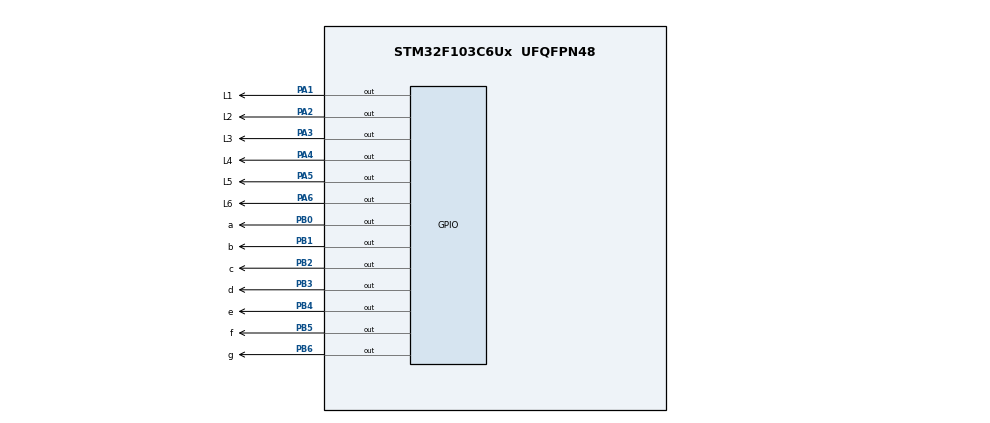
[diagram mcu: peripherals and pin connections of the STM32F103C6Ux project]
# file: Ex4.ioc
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Mcu.Family=STM32F1
Mcu.Name=STM32F103C6Ux
Mcu.Package=UFQFPN48
NVIC.PriorityGroup=NVIC_PRIORITYGROUP_4
PA1.GPIO_Label=L1
PA1.Signal=GPIO_Output
PA2.GPIO_Label=L2
PA2.Signal=GPIO_Output
PA3.GPIO_Label=L3
PA3.Signal=GPIO_Output
PA4.GPIO_Label=L4
PA4.Signal=GPIO_Output
PA5.GPIO_Label=L5
PA5.Signal=GPIO_Output
PA6.GPIO_Label=L6
PA6.Signal=GPIO_Output
PB0.GPIO_Label=a
PB0.Signal=GPIO_Output
PB1.GPIO_Label=b
PB1.Signal=GPIO_Output
PB2.GPIO_Label=c
PB2.Signal=GPIO_Output
PB3.GPIO_Label=d
PB3.Signal=GPIO_Output
PB4.GPIO_Label=e
PB4.Signal=GPIO_Output
PB5.GPIO_Label=f
PB5.Signal=GPIO_Output
PB6.GPIO_Label=g
PB6.Signal=GPIO_Output
ProjectManager.HeapSize=0x200
ProjectManager.StackSize=0x400
ProjectManager.TargetToolchain=STM32CubeIDE
RCC.APB1Freq_Value=8000000
RCC.APB2Freq_Value=8000000
VP_SYS_VS_ND.Mode=No_Debug
board=custom

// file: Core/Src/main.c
/* USER CODE BEGIN Header */
/**
  ******************************************************************************
  * @file           : main.c
  * @brief          : Main program body
  ******************************************************************************
  * @attention
  *
  * <h2><center>&copy; Copyright (c) 2025 STMicroelectronics.
  * All rights reserved.</center></h2>
  *
  * This software component is licensed by ST under BSD 3-Clause license,
  * the "License"; You may not use this file except in compliance with the
  * License. You may obtain a copy of the License at:
  *                        opensource.org/licenses/BSD-3-Clause
  *
  ******************************************************************************
  */
/* USER CODE END Header */
#include "main.h"

void SystemClock_Config(void);
static void MX_GPIO_Init(void);

/* USER CODE BEGIN 0 */
void display7SEG(int num)
{
	{
	    char segNumber[10] = {
	        0xC0, // 0
	        0xF9, // 1
	        0xA4, // 2
	        0xB0, // 3
	        0x99, // 4
	        0x92, // 5
	        0x82, // 6
	        0xF8, // 7
	        0x80, // 8
	        0x90  // 9
	    };

	    for (int i = 0; i < 7; i++)
	    {
	        HAL_GPIO_WritePin(GPIOB, (GPIO_PIN_0 << i),((segNumber[num] >> i) & 1));
	    }
	}
}

/* USER CODE END 0 */

int main(void)
{

  /* MCU Configuration--------------------------------------------------------*/

  /* Reset of all peripherals, Initializes the Flash interface and the Systick. */
  HAL_Init();

  /* Configure the system clock */
  SystemClock_Config();

  /* Initialize all configured peripherals */
  MX_GPIO_Init();
  /* USER CODE BEGIN 2 */
  int countRed    = 5;
    int countYellow = 2;
    int countGreen  = 3;
    int isCross     = 1;
    while (1)
    {
  	  if (isCross == 1)
  	      {
  	        if (countRed > 0)
  	        {
  	        display7SEG(countRed);
  	        if(countRed>=3){
  	          HAL_GPIO_WritePin(GPIOA, GPIO_PIN_1, RESET);
  	          HAL_GPIO_WritePin(GPIOA, GPIO_PIN_2, SET);
  	          HAL_GPIO_WritePin(GPIOA, GPIO_PIN_3, SET);

  	          HAL_GPIO_WritePin(GPIOA, GPIO_PIN_4, SET);
  	          HAL_GPIO_WritePin(GPIOA, GPIO_PIN_5, SET);
  	          HAL_GPIO_WritePin(GPIOA, GPIO_PIN_6, RESET);
  	          countGreen--;
  	        }
  	        if (countRed < 3 && countRed >= 1)
  	        {
  	          HAL_GPIO_WritePin(GPIOA, GPIO_PIN_1, RESET);
  	          HAL_GPIO_WritePin(GPIOA, GPIO_PIN_2, SET);
  	          HAL_GPIO_WritePin(GPIOA, GPIO_PIN_3, SET);

  	          HAL_GPIO_WritePin(GPIOA, GPIO_PIN_4, SET);
  	          HAL_GPIO_WritePin(GPIOA, GPIO_PIN_5, RESET);
  	          HAL_GPIO_WritePin(GPIOA, GPIO_PIN_6, SET);
  	          countYellow--;
  	        }
  	        countRed--;
  	      }
  	      if(countYellow == 0) countYellow = 2;
  	      if(countGreen == 0) countGreen = 3;
  	      if(countRed == 0){
  	    	  countRed += 5;
  	    	  isCross = 2;
  	      }
  	      }
  	      else // Hướng 2 chạy, Hướng 1 dừng
  	      {
  	        if (countRed > 0)
  	        {
  	        	display7SEG(countGreen);
  	        	if(countRed>=3){
  	          HAL_GPIO_WritePin(GPIOA, GPIO_PIN_4, RESET);
  	          HAL_GPIO_WritePin(GPIOA, GPIO_PIN_5, SET);
  	          HAL_GPIO_WritePin(GPIOA, GPIO_PIN_6, SET);

  	          HAL_GPIO_WritePin(GPIOA, GPIO_PIN_1, SET);
  	          HAL_GPIO_WritePin(GPIOA, GPIO_PIN_2, SET);
  	          HAL_GPIO_WritePin(GPIOA, GPIO_PIN_3, RESET);
  	          countGreen--;
  	        }
  	        if (countRed < 3 && countRed >= 1)
  	        {
  	        	display7SEG(countYellow);
  	          HAL_GPIO_WritePin(GPIOA, GPIO_PIN_4, RESET);
  	          HAL_GPIO_WritePin(GPIOA, GPIO_PIN_5, SET);
  	          HAL_GPIO_WritePin(GPIOA, GPIO_PIN_6, SET);

  	          HAL_GPIO_WritePin(GPIOA, GPIO_PIN_1, SET);
  	          HAL_GPIO_WritePin(GPIOA, GPIO_PIN_2, RESET);
  	          HAL_GPIO_WritePin(GPIOA, GPIO_PIN_3, SET);
  	          countYellow--;
  	        }
  	        countRed--;
  	      }

  	      if (countYellow == 0) countYellow = 2;
  	      if (countGreen == 0)  countGreen  = 3;
  	      if (countRed == 0)
  	      {
  	        countRed = 5;
  	        isCross = 1; // đổi hướng
  	      }
  	      }
  	      HAL_Delay(1000);

    /* USER CODE END WHILE */

  }
}

void SystemClock_Config(void)
{
  RCC_OscInitTypeDef RCC_OscInitStruct = {0};
  RCC_ClkInitTypeDef RCC_ClkInitStruct = {0};

  /** Initializes the RCC Oscillators according to the specified parameters
  * in the RCC_OscInitTypeDef structure.
  */
  RCC_OscInitStruct.OscillatorType = RCC_OSCILLATORTYPE_HSI;
  RCC_OscInitStruct.HSIState = RCC_HSI_ON;
  RCC_OscInitStruct.HSICalibrationValue = RCC_HSICALIBRATION_DEFAULT;
  RCC_OscInitStruct.PLL.PLLState = RCC_PLL_NONE;
  if (HAL_RCC_OscConfig(&RCC_OscInitStruct) != HAL_OK)
  {
    Error_Handler();
  }
  /** Initializes the CPU, AHB and APB buses clocks
  */
  RCC_ClkInitStruct.ClockType = RCC_CLOCKTYPE_HCLK|RCC_CLOCKTYPE_SYSCLK
                              |RCC_CLOCKTYPE_PCLK1|RCC_CLOCKTYPE_PCLK2;
  RCC_ClkInitStruct.SYSCLKSource = RCC_SYSCLKSOURCE_HSI;
  RCC_ClkInitStruct.AHBCLKDivider = RCC_SYSCLK_DIV1;
  RCC_ClkInitStruct.APB1CLKDivider = RCC_HCLK_DIV1;
  RCC_ClkInitStruct.APB2CLKDivider = RCC_HCLK_DIV1;

  if (HAL_RCC_ClockConfig(&RCC_ClkInitStruct, FLASH_LATENCY_0) != HAL_OK)
  {
    Error_Handler();
  }
}

static void MX_GPIO_Init(void)
{
  GPIO_InitTypeDef GPIO_InitStruct = {0};

  /* GPIO Ports Clock Enable */
  __HAL_RCC_GPIOA_CLK_ENABLE();
  __HAL_RCC_GPIOB_CLK_ENABLE();

  /*Configure GPIO pin Output Level */
  HAL_GPIO_WritePin(GPIOA, L1_Pin|L2_Pin|L3_Pin|L4_Pin
                          |L5_Pin|L6_Pin, GPIO_PIN_RESET);

  /*Configure GPIO pin Output Level */
  HAL_GPIO_WritePin(GPIOB, a_Pin|b_Pin|c_Pin|d_Pin
                          |e_Pin|f_Pin|g_Pin, GPIO_PIN_RESET);

  /*Configure GPIO pins : L1_Pin L2_Pin L3_Pin L4_Pin
                           L5_Pin L6_Pin */
  GPIO_InitStruct.Pin = L1_Pin|L2_Pin|L3_Pin|L4_Pin
                          |L5_Pin|L6_Pin;
  GPIO_InitStruct.Mode = GPIO_MODE_OUTPUT_PP;
  GPIO_InitStruct.Pull = GPIO_NOPULL;
  GPIO_InitStruct.Speed = GPIO_SPEED_FREQ_LOW;
  HAL_GPIO_Init(GPIOA, &GPIO_InitStruct);

  /*Configure GPIO pins : a_Pin b_Pin c_Pin d_Pin
                           e_Pin f_Pin g_Pin */
  GPIO_InitStruct.Pin = a_Pin|b_Pin|c_Pin|d_Pin
                          |e_Pin|f_Pin|g_Pin;
  GPIO_InitStruct.Mode = GPIO_MODE_OUTPUT_PP;
  GPIO_InitStruct.Pull = GPIO_NOPULL;
  GPIO_InitStruct.Speed = GPIO_SPEED_FREQ_LOW;
  HAL_GPIO_Init(GPIOB, &GPIO_InitStruct);

}

void Error_Handler(void)
{
  __disable_irq();
  while (1)
  {
  }
}

/************************ (C) COPYRIGHT STMicroelectronics *****END OF FILE****/
